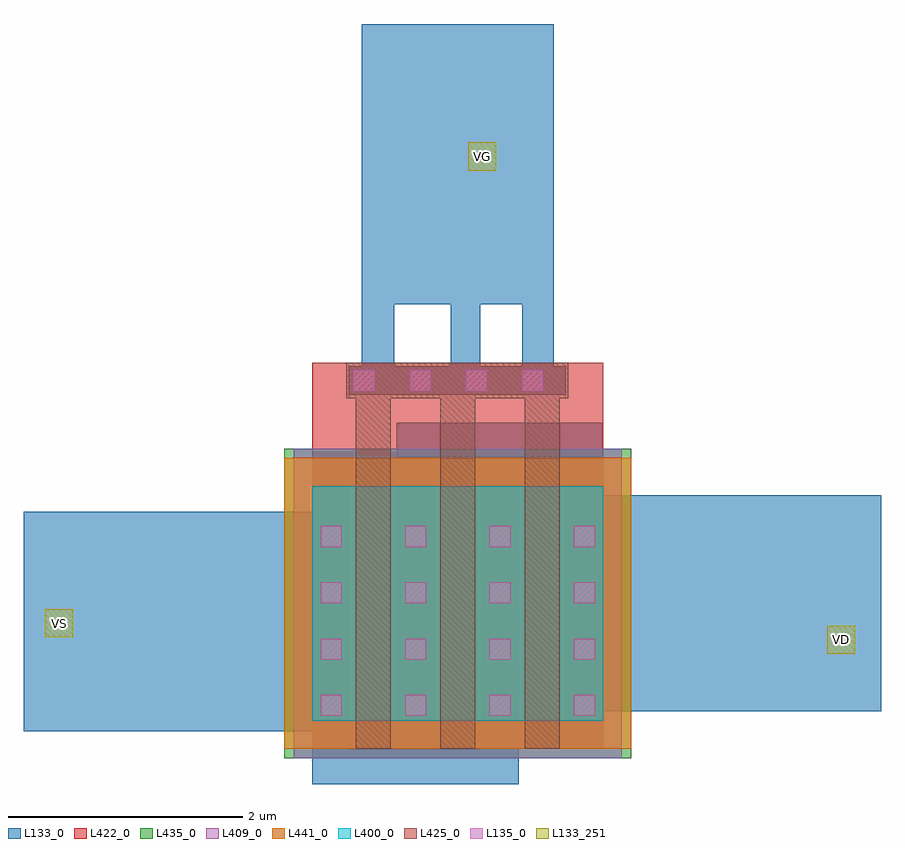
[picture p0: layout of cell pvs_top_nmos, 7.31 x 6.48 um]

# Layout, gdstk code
import gdstk
lib = gdstk.Library(unit=1e-6, precision=1e-09)
def R(c, l, rs):  # rectangles x0, y0, x1, y1
    for r in rs: c.add(gdstk.rectangle(r[:2], r[2:], *l))
def A(c, l, x, y, w, h, nx, ny, dx, dy):  # array of equal rectangles
    R(c, l, [(x+i*dx, y+j*dy, x+i*dx+w, y+j*dy+h) for i in range(nx) for j in range(ny)])
L133_0 = (133, 0)
L133_251 = (133, 251)
L135_0 = (135, 0)
L400_0 = (400, 0)
L409_0 = (409, 0)
L422_0 = (422, 0)
L425_0 = (425, 0)
L435_0 = (435, 0)
L441_0 = (441, 0)

nmos_hs_4_top__1 = lib.new_cell('nmos_hs_4_top$$1')
A(nmos_hs_4_top__1, L133_0, -0.37, 0, 0.32, 2, 4, 1, 0.72, 0)
A(nmos_hs_4_top__1, L133_0, -0.06, 2.78, 0.41, 0.24, 3, 1, 0.72, 0)
R(nmos_hs_4_top__1, L133_0, [(-0.37,-0.54,1.39,-0.24), (-0.37,-0.3,-0.05,0.04), (1.07,-0.3,1.39,0.04), (-0.28,0.06,-0.14,0.2), (0.44,0.06,0.58,0.2), (0.35,1.9,0.67,2.24), (1.79,1.9,2.11,2.24), (0.35,2.24,2.11,2.54), (0.35,2.78,0.66,3.02), (1.07,2.78,1.38,3.02), (0,2.83,0.14,2.97)])
A(nmos_hs_4_top__1, L135_0, -0.3, 0.04, 0.18, 0.18, 4, 4, 0.72, 0.48)
A(nmos_hs_4_top__1, L135_0, -0.02, 2.81, 0.18, 0.18, 4, 1, 0.48, 0)
A(nmos_hs_4_top__1, L400_0, -0.37, 0, 0.32, 2, 4, 1, 0.72, 0)
A(nmos_hs_4_top__1, L400_0, 0, 0, 0.3, 2, 3, 1, 0.72, 0)
R(nmos_hs_4_top__1, L400_0, [(-0.05,0,0,2), (0.3,0,0.35,2), (0.67,0,0.72,2), (1.02,0,1.07,2), (1.39,0,1.44,2), (1.74,0,1.79,2)])
R(nmos_hs_4_top__1, L409_0, [(-0.53,-0.32,2.27,2.32)])
R(nmos_hs_4_top__1, L422_0, [(-0.37,-0.24,2.11,3.05)])
A(nmos_hs_4_top__1, L425_0, 0, -0.24, 0.3, 2.99, 3, 1, 0.72, 0)
A(nmos_hs_4_top__1, L425_0, -0.08, 2.75, 0.45, 0.3, 3, 1, 0.72, 0)
R(nmos_hs_4_top__1, L425_0, [(0.37,2.75,0.64,3.05), (1.09,2.75,1.36,3.05)])
R(nmos_hs_4_top__1, L435_0, [(-0.61,-0.32,2.35,2.32)])
R(nmos_hs_4_top__1, L441_0, [(-0.61,-0.24,2.35,2.24)])

pvs_top_nmos = lib.new_cell('pvs_top_nmos')
R(pvs_top_nmos, L133_0, [(-0.54,1.99,2.2,3.86), (4.14,2.16,6.77,4), (2.34,4.87,2.62,5.84), (3.1,4.88,3.35,5.83), (3.71,4.88,3.98,5.83), (2.34,5.63,3.98,8.02)])
R(pvs_top_nmos, L133_251, [(6.31,2.65,6.55,2.89), (-0.36,2.79,-0.12,3.03), (3.25,6.77,3.49,7.01)])
pvs_top_nmos.add(gdstk.Reference(nmos_hs_4_top__1, (2.29,2.08)))
pvs_top_nmos.add(gdstk.Label('VS', (-0.24,2.91), layer=133, texttype=251))
pvs_top_nmos.add(gdstk.Label('VG', (3.37,6.89), layer=133, texttype=251))
pvs_top_nmos.add(gdstk.Label('VD', (6.43,2.77), layer=133, texttype=251))

lib.write_gds('pvs_top_nmos.gds')
